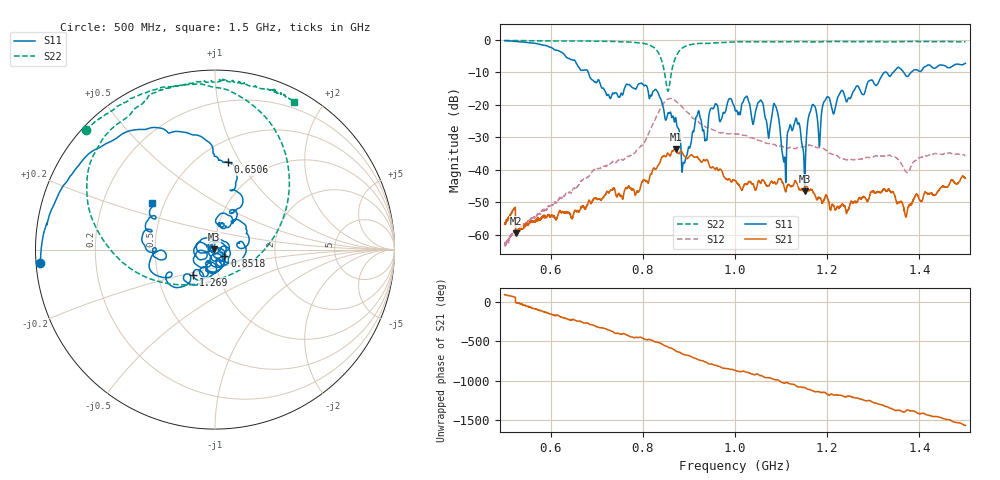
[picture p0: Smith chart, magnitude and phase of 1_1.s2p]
!Agilent Technologies,E8364B,US42250235,A.06.04.32
!Agilent E8364B: A.06.04.32
!Date: Thursday, October 01, 2020 14:22:06
!Correction: S11(Full 2 Port(1,2)) S21(Full 2 Port(1,2)) S12(Full 2 Port(1,2)) S22(Full 2 Port(1,2))
!S2P File: Measurements: S11, S21, S12, S22:
# Hz S  dB  R 50
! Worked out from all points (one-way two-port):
!   2650 points, 500 MHz to 1.5 GHz, reference 50 ohm
!   highest |S21| = -33.53 dB at 871.1 MHz (marker M1); lowest = -59.5 dB at 524.5 MHz (marker M2)
!   lowest |S11| = -46.5 dB at 1.151 GHz (marker M3), VSWR 1.01, Z = 49.6 + j0.22 ohm
!   |S11| at or under -10 dB: 681.7 MHz to 1.324 GHz (642.4 MHz wide, 64.1 % of centre); 1.329 GHz to 1.343 GHz (13.96 MHz wide, 1.04 % of centre); 1.366 GHz to 1.382 GHz (15.57 MHz wide, 1.13 % of centre)
!   |S22| runs from -15.8 to -0.2 dB; largest |S21 - S12| = 0.14
!   S11 on the Smith chart (normalised r, x): 500 MHz: 0.01, -0.04; 650.6 MHz: 0.69, +0.88; 851.8 MHz: 1.11, -0.08; 1.269 GHz: 0.75, -0.22; 1.5 GHz: 0.43, +0.28
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5e8  -0.21 -175.5  -56.78 95.6  -62.36 32.6  -0.17 137.3
5.245376e8  -0.49 171.2  -59.49 -6.0  -58.63 -21.9  -0.19 135.0
6.506229e8  -6.15 81.9  -53.10 136.9  -45.58 -179.6  -0.35 120.0
6.668554e8  -9.36 75.3  -51.28 110.7  -43.39 172.0  -0.33 119.0
8.337108e8  -16.54 -24.4  -38.52 -154.2  -22.37 53.2  -3.90 51.0
8.518309e8  -24.04 -33.4  -35.55 159.9  -18.38 -6.1  -14.38 -30.6
8.710834e8  -23.87 -93.2  -33.53 101.2  -18.75 -75.8  -5.40 -174.3
8.884485e8  -37.76 119.2  -35.54 54.8  -21.14 -123.7  -2.25 157.3
9.186485e8  -22.93 38.4  -35.97 -7.1  -24.87 173.7  -1.12 135.2
9.356361e8  -30.97 -11.4  -37.22 -38.5  -26.76 144.6  -1.06 127.2
1.000189e9  -21.56 -124.4  -43.31 -148.0  -28.91 24.8  -0.60 113.4
1.087391e9  -20.27 150.8  -44.02 93.1  -32.28 -166.0  -0.58 104.6
1.106644e9  -37.05 140.7  -45.32 50.6  -33.13 154.3  -0.59 101.0
1.134957e9  -25.40 -27.1  -44.25 8.0  -33.22 105.5  -0.52 96.3
1.151189e9  -46.54 151.9  -45.56 -4.2  -32.83 73.0  -0.53 93.6
1.166667e9  -20.47 -57.4  -46.15 -40.9  -32.59 39.1  -0.58 91.4
1.182522e9  -32.01 -101.4  -48.48 -60.2  -33.15 8.2  -0.60 90.3
1.197999e9  -17.95 -85.8  -47.67 -81.1  -34.03 -24.3  -0.47 89.0
1.268592e9  -14.57 -130.9  -48.74 -143.2  -36.72 -115.0  -0.53 84.1
1.333522e9  -10.89 -154.0  -45.84 102.6  -35.54 163.1  -0.58 76.3
1.371272e9  -11.08 -176.9  -54.17 62.7  -40.63 121.2  -0.50 70.5
1.5e9  -7.21 143.3  -42.61 -125.9  -35.72 -39.1  -0.58 61.8
